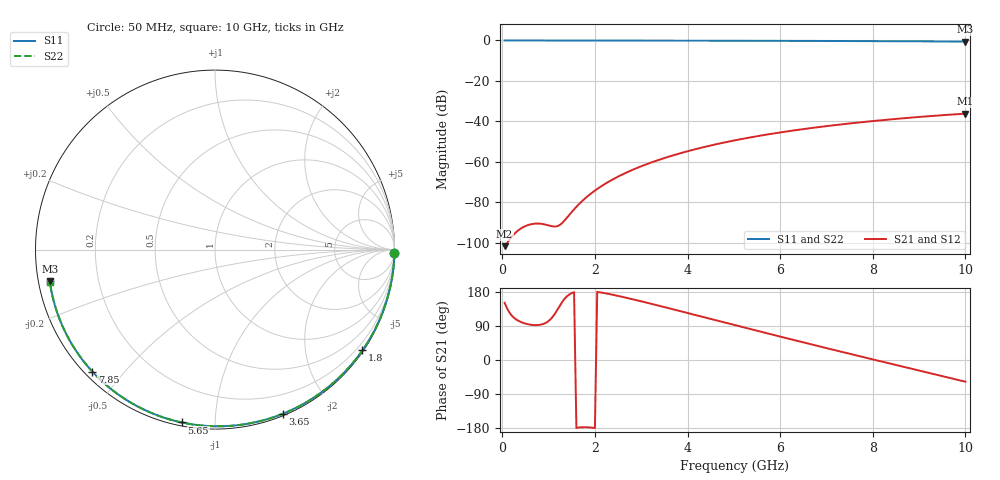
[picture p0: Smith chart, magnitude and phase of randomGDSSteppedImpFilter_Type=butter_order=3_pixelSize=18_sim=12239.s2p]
! freq	dB(S11)	phase(S11)	dB(S12)	phase(S12)
!  dB(S21)	phase(S21)	dB(S22)	phase(S22)
!S-par simulation data
#  GHz  S  DB  R 50
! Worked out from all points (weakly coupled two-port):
!   200 points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, 50 MHz to 10 GHz, reference 50 ohm
!   highest |S21| = -36.15 dB at 10 GHz (marker M1); lowest = -101.6 dB at 50 MHz (marker M2)
!   lowest |S11| = -0.6 dB at 10 GHz (marker M3), VSWR 30.97, Z = 1.63 - j4.76 ohm
!   |S11| at or under -10 dB: nowhere
!   |S22| runs from -0.6 to 0.0 dB; largest |S21 - S12| = 0
!   S11 on the Smith chart (normalised r, x): 50 MHz: open; 1.8 GHz: 0.03, -3.24; 3.65 GHz: 0.02, -1.49; 5.65 GHz: 0.02, -0.83; 7.85 GHz: 0.02, -0.41; 10 GHz: 0.03, -0.10
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0.05  -0.00 -1.0  -101.62 150.8  -101.62 150.8  -0.00 -1.0
0.45  -0.01 -8.7  -92.24 98.0  -92.24 98.0  -0.01 -8.7
0.85  -0.02 -16.4  -90.59 93.9  -90.59 93.9  -0.02 -16.4
1.65  -0.04 -31.5  -80.98 -178.2  -80.98 -178.2  -0.04 -31.5
1.7  -0.04 -32.5  -79.85 -177.6  -79.85 -177.6  -0.04 -32.5
1.75  -0.04 -33.4  -78.78 -177.3  -78.78 -177.3  -0.04 -33.4
1.8  -0.04 -34.3  -77.77 -177.4  -77.77 -177.4  -0.04 -34.3
2.1  -0.05 -39.9  -72.57 178.8  -72.57 178.8  -0.05 -39.9
2.45  -0.06 -46.3  -67.85 170.5  -67.85 170.5  -0.06 -46.3
2.9  -0.07 -54.4  -63.06 157.8  -63.06 157.8  -0.07 -54.4
3.4  -0.08 -63.3  -58.83 142.7  -58.83 142.7  -0.08 -63.3
3.65  -0.09 -67.7  -57.01 135.0  -57.01 135.0  -0.09 -67.6
4.35  -0.11 -79.6  -52.69 113.1  -52.69 113.1  -0.11 -79.6
5.05  -0.14 -91.2  -49.21 91.3  -49.21 91.3  -0.14 -91.2
5.65  -0.17 -100.9  -46.72 72.6  -46.72 72.6  -0.17 -100.8
6.15  -0.20 -108.8  -44.92 57.2  -44.92 57.2  -0.20 -108.8
6.7  -0.23 -117.4  -43.18 40.4  -43.18 40.4  -0.23 -117.4
7.25  -0.27 -125.9  -41.64 23.9  -41.64 23.9  -0.27 -125.9
7.85  -0.32 -135.2  -40.16 6.0  -40.16 6.0  -0.32 -135.1
8.35  -0.37 -142.9  -39.06 -8.7  -39.06 -8.7  -0.37 -142.8
9.2  -0.46 -156.2  -37.43 -33.6  -37.43 -33.6  -0.46 -156.1
10  -0.56 -169.1  -36.15 -57.3  -36.15 -57.3  -0.56 -169.1
